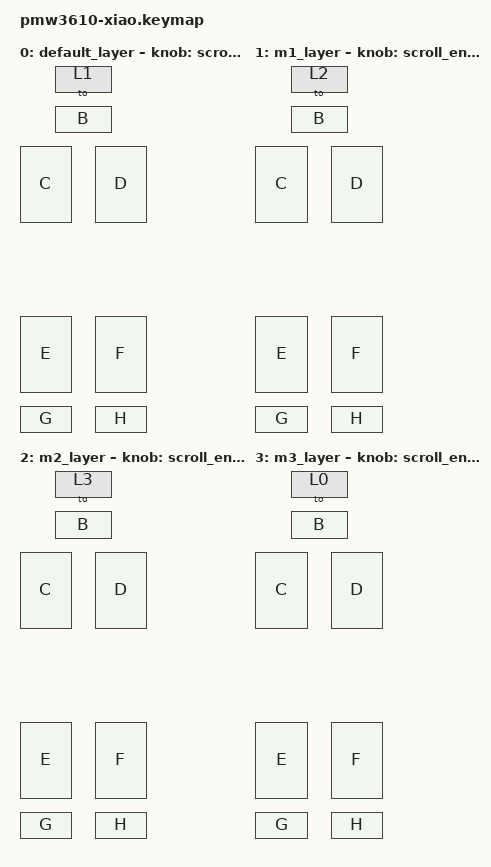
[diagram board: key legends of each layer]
/* Trackball 4-direction rotation: 0/90/180/270 via Button 1 */
#include <behaviors.dtsi>
#include <dt-bindings/zmk/keys.h>

#define ZMK_POINTING_DEFAULT_SCRL_VAL 20
#include <dt-bindings/zmk/pointing.h>

/ {
    behaviors {
        scroll_encoder: scroll_encoder {
            compatible = "zmk,behavior-sensor-rotate";
            #sensor-binding-cells = <0>;
            bindings = <&msc SCRL_DOWN>, <&msc SCRL_UP>;
            tap-ms = <100>;
        };
    };


    keymap {
        compatible = "zmk,keymap";

        default_layer {
            /* Layer 0: Hướng 0° (bình thường) */
            bindings = <
                &to 1    /* Nút 1: → chuyển sang 90° */
                &kp B    /* Nút 2 */
                &kp C    /* Nút 3 */
                &kp D    /* Nút 4 */
                &kp E    /* Nút 5 */
                &kp F    /* Nút 6 */
                &kp G    /* Nút 7 */
                &kp H    /* Nút 8 */
            >;
            sensor-bindings = <&scroll_encoder>;
        };

        m1_layer {
            /* Layer 1: Hướng 90° CW */
            bindings = <
                &to 2    /* Nút 1: → chuyển sang 180° */
                &kp B    /* Nút 2 */
                &kp C    /* Nút 3 */
                &kp D    /* Nút 4 */
                &kp E    /* Nút 5 */
                &kp F    /* Nút 6 */
                &kp G    /* Nút 7 */
                &kp H    /* Nút 8 */
            >;
            sensor-bindings = <&scroll_encoder>;
        };

        m2_layer {
            /* Layer 2: Hướng 180° */
            bindings = <
                &to 3    /* Nút 1: → chuyển sang 270° */
                &kp B    /* Nút 2 */
                &kp C    /* Nút 3 */
                &kp D    /* Nút 4 */
                &kp E    /* Nút 5 */
                &kp F    /* Nút 6 */
                &kp G    /* Nút 7 */
                &kp H    /* Nút 8 */
            >;
            sensor-bindings = <&scroll_encoder>;
        };

        m3_layer {
            /* Layer 3: Hướng 270° CW */
            bindings = <
                &to 0    /* Nút 1: → quay về 0° */
                &kp B    /* Nút 2 */
                &kp C    /* Nút 3 */
                &kp D    /* Nút 4 */
                &kp E    /* Nút 5 */
                &kp F    /* Nút 6 */
                &kp G    /* Nút 7 */
                &kp H    /* Nút 8 */
            >;
            sensor-bindings = <&scroll_encoder>;
        };
    };
};

